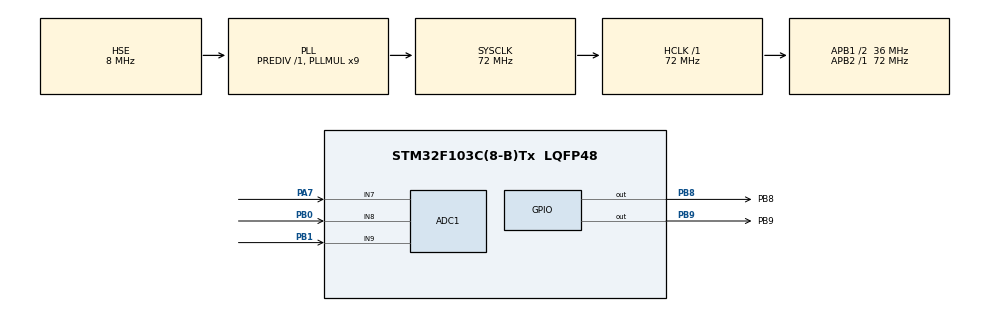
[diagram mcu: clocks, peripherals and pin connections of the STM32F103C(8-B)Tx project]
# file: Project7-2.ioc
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ADC1.Channel-0\#ChannelRegularConversion=ADC_CHANNEL_7
ADC1.Channel-1\#ChannelRegularConversion=ADC_CHANNEL_8
ADC1.Channel-2\#ChannelRegularConversion=ADC_CHANNEL_9
ADC1.DiscontinuousConvMode=ENABLE
ADC1.NbrOfConversion=3
ADC1.NbrOfConversionFlag=1
ADC1.Rank-0\#ChannelRegularConversion=1
ADC1.Rank-1\#ChannelRegularConversion=2
ADC1.Rank-2\#ChannelRegularConversion=3
ADC1.SamplingTime-0\#ChannelRegularConversion=ADC_SAMPLETIME_1CYCLE_5
ADC1.SamplingTime-1\#ChannelRegularConversion=ADC_SAMPLETIME_1CYCLE_5
ADC1.SamplingTime-2\#ChannelRegularConversion=ADC_SAMPLETIME_1CYCLE_5
ADC1.master=1
Mcu.Family=STM32F1
Mcu.Name=STM32F103C(8-B)Tx
Mcu.Package=LQFP48
NVIC.PriorityGroup=NVIC_PRIORITYGROUP_4
PA13.Mode=Serial_Wire
PA13.Signal=SYS_JTMS-SWDIO
PA14.Mode=Serial_Wire
PA14.Signal=SYS_JTCK-SWCLK
PA7.Signal=ADCx_IN7
PB0.Signal=ADCx_IN8
PB1.Signal=ADCx_IN9
PB8.GPIO_Label=PB8
PB8.GPIO_ModeDefaultOutputPP=GPIO_MODE_OUTPUT_OD
PB8.GPIO_PuPd=GPIO_NOPULL
PB8.Signal=GPIO_Output
PB9.GPIO_Label=PB9
PB9.GPIO_ModeDefaultOutputPP=GPIO_MODE_OUTPUT_OD
PB9.GPIO_PuPd=GPIO_NOPULL
PB9.Signal=GPIO_Output
PC14-OSC32_IN.Mode=LSE-External-Oscillator
PC14-OSC32_IN.Signal=RCC_OSC32_IN
PC15-OSC32_OUT.Mode=LSE-External-Oscillator
PC15-OSC32_OUT.Signal=RCC_OSC32_OUT
PD0-OSC_IN.Mode=HSE-External-Oscillator
PD0-OSC_IN.Signal=RCC_OSC_IN
PD1-OSC_OUT.Mode=HSE-External-Oscillator
PD1-OSC_OUT.Signal=RCC_OSC_OUT
ProjectManager.HeapSize=0x200
ProjectManager.StackSize=0x400
ProjectManager.TargetToolchain=MDK-ARM V5.32
RCC.ADCPresc=RCC_ADCPCLK2_DIV6
RCC.AHBFreq_Value=72000000
RCC.APB1CLKDivider=RCC_HCLK_DIV2
RCC.APB1Freq_Value=36000000
RCC.APB1TimFreq_Value=72000000
RCC.APB2Freq_Value=72000000
RCC.APB2TimFreq_Value=72000000
RCC.HCLKFreq_Value=72000000
RCC.PLLMUL=RCC_PLL_MUL9
RCC.PLLSourceVirtual=RCC_PLLSOURCE_HSE
RCC.SYSCLKFreq_VALUE=72000000
RCC.SYSCLKSource=RCC_SYSCLKSOURCE_PLLCLK
RCC.USBFreq_Value=72000000
SH.ADCx_IN7.0=ADC1_IN7,IN7
SH.ADCx_IN8.0=ADC1_IN8,IN8
SH.ADCx_IN9.0=ADC1_IN9,IN9
board=custom

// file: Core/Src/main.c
/* USER CODE BEGIN Header */
/**
  ******************************************************************************
  * @file           : main.c
  * @brief          : Main program body
  ******************************************************************************
  * @attention
  *
  * Copyright (c) 2025 STMicroelectronics.
  * All rights reserved.
  *
  * This software is licensed under terms that can be found in the LICENSE file
  * in the root directory of this software component.
  * If no LICENSE file comes with this software, it is provided AS-IS.
  *
  ******************************************************************************
  */
/* USER CODE END Header */
#include "main.h"
#include "adc.h"
#include "gpio.h"

/* USER CODE BEGIN Includes */
#include "OLED.h"
/* USER CODE END Includes */

/* USER CODE BEGIN PV */
uint16_t values[3] = {0};   // 用于存放ADC数据
/* USER CODE END PV */

void SystemClock_Config(void);

int main(void)
{

  /* MCU Configuration--------------------------------------------------------*/

  /* Reset of all peripherals, Initializes the Flash interface and the Systick. */
  HAL_Init();

  /* Configure the system clock */
  SystemClock_Config();

  /* Initialize all configured peripherals */
  MX_GPIO_Init();
  MX_ADC1_Init();
  /* USER CODE BEGIN 2 */
  // 模块初始化
  // 先在cubemx中配置OLED相关引脚和开启ADC1的IN7 IN8 IN9并且把Number Of Covesion改成3
  // 并且把Rank每个改成不一样的
  // 创建文件之后按照之前的步骤添加OLED相关文件进行配置
  OLED_Init();
  HAL_ADCEx_Calibration_Start(&hadc1);  // 使用前校准
  OLED_Clear(); // 清屏
  OLED_ShowString(1,1,"V1:");
  OLED_ShowString(2,1,"V2:");
  OLED_ShowString(3,1,"V3:");
  /* USER CODE END 2 */

  /* Infinite loop */
  /* USER CODE BEGIN WHILE */
  while (1)
  {
	  for(uint8_t i = 0;i < 3;i++)
	  {
		  HAL_ADC_Start(&hadc1); // ADC启动，开始转换
		  if(HAL_ADC_PollForConversion(&hadc1,HAL_MAX_DELAY)==HAL_OK)
		  {
			  values[i]=HAL_ADC_GetValue(&hadc1);
		  }
	  }
	  OLED_ShowNum(1,5,values[0],4);
	  OLED_ShowNum(2,5,values[1],4);
	  OLED_ShowNum(3,5,values[2],4);
	  HAL_Delay(100);
    /* USER CODE END WHILE */

  }
}

void SystemClock_Config(void)
{
  RCC_OscInitTypeDef RCC_OscInitStruct = {0};
  RCC_ClkInitTypeDef RCC_ClkInitStruct = {0};
  RCC_PeriphCLKInitTypeDef PeriphClkInit = {0};

  /** Initializes the RCC Oscillators according to the specified parameters
  * in the RCC_OscInitTypeDef structure.
  */
  RCC_OscInitStruct.OscillatorType = RCC_OSCILLATORTYPE_HSE;
  RCC_OscInitStruct.HSEState = RCC_HSE_ON;
  RCC_OscInitStruct.HSEPredivValue = RCC_HSE_PREDIV_DIV1;
  RCC_OscInitStruct.HSIState = RCC_HSI_ON;
  RCC_OscInitStruct.PLL.PLLState = RCC_PLL_ON;
  RCC_OscInitStruct.PLL.PLLSource = RCC_PLLSOURCE_HSE;
  RCC_OscInitStruct.PLL.PLLMUL = RCC_PLL_MUL9;
  if (HAL_RCC_OscConfig(&RCC_OscInitStruct) != HAL_OK)
  {
    Error_Handler();
  }

  /** Initializes the CPU, AHB and APB buses clocks
  */
  RCC_ClkInitStruct.ClockType = RCC_CLOCKTYPE_HCLK|RCC_CLOCKTYPE_SYSCLK
                              |RCC_CLOCKTYPE_PCLK1|RCC_CLOCKTYPE_PCLK2;
  RCC_ClkInitStruct.SYSCLKSource = RCC_SYSCLKSOURCE_PLLCLK;
  RCC_ClkInitStruct.AHBCLKDivider = RCC_SYSCLK_DIV1;
  RCC_ClkInitStruct.APB1CLKDivider = RCC_HCLK_DIV2;
  RCC_ClkInitStruct.APB2CLKDivider = RCC_HCLK_DIV1;

  if (HAL_RCC_ClockConfig(&RCC_ClkInitStruct, FLASH_LATENCY_2) != HAL_OK)
  {
    Error_Handler();
  }
  PeriphClkInit.PeriphClockSelection = RCC_PERIPHCLK_ADC;
  PeriphClkInit.AdcClockSelection = RCC_ADCPCLK2_DIV6;
  if (HAL_RCCEx_PeriphCLKConfig(&PeriphClkInit) != HAL_OK)
  {
    Error_Handler();
  }
}

void Error_Handler(void)
{
  __disable_irq();
  while (1)
  {
  }
}
